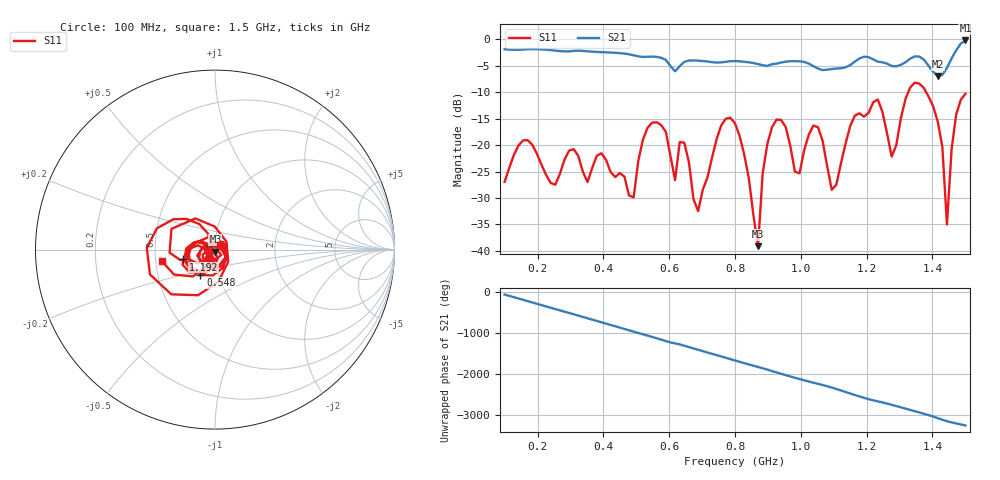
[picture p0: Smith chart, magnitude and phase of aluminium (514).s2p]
! NanoVNA-App
! Date: 2025-09-25 14:59:17
! Start: 100MHz Stop: 1,5GHz Points: 101
! S-Parameter data: F S11 S21 S12 S22
# Hz S RI R 50
!  Frequency  S11_Real  S11_Imag  S21_Real  S21_Imag  S12_Real  S12_Imag  S22_Real  S22_Imag
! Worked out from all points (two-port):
!   101 points, 100 MHz to 1.5 GHz, reference 50 ohm
!   highest |S21| = -0.26 dB at 1.5 GHz (marker M1); lowest = -7.0 dB at 1.416 GHz (marker M2)
!   |S21| within 3 dB of the highest: start of sweep to 507 MHz; 1.462 GHz to end of sweep
!   lowest |S11| = -39.1 dB at 870 MHz (marker M3), VSWR 1.02, Z = 50.2 - j1.09 ohm
!   |S11| at or under -10 dB: start of sweep to 1.327 GHz; 1.381 GHz to end of sweep
!   S12 and S22 are empty: the file has one direction only
!   S11 on the Smith chart (normalised r, x): 100 MHz: 1.07, +0.06; 548 MHz: 0.82, -0.24; 1.192 GHz: 0.70, -0.08; 1.5 GHz: 0.54, -0.07
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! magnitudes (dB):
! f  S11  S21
! 100 MHz  -27.0  -1.9
! 156 MHz  -19.1  -2.0
! 338 MHz  -25.1  -2.2
! 492 MHz  -29.9  -3.1
! 548 MHz  -15.8  -3.3
! 576 MHz  -16.2  -3.5
! 646 MHz  -19.6  -4.3
! 688 MHz  -32.5  -4.1
! 800 MHz  -15.9  -4.1
! 870 MHz  -39.1  -4.7
! 912 MHz  -16.7  -4.7
! 996 MHz  -25.3  -4.2
! 1.038 GHz  -16.3  -5.1
! 1.094 GHz  -28.4  -5.6
! 1.192 GHz  -14.6  -3.3
! 1.234 GHz  -11.4  -4.3
! 1.276 GHz  -22.2  -5.1
! 1.346 GHz  -8.2  -3.3
! 1.416 GHz  -15.6  -7.0
! 1.444 GHz  -35.0  -5.4
! 1.472 GHz  -14.3  -2.1
! 1.5 GHz  -10.3  -0.3
